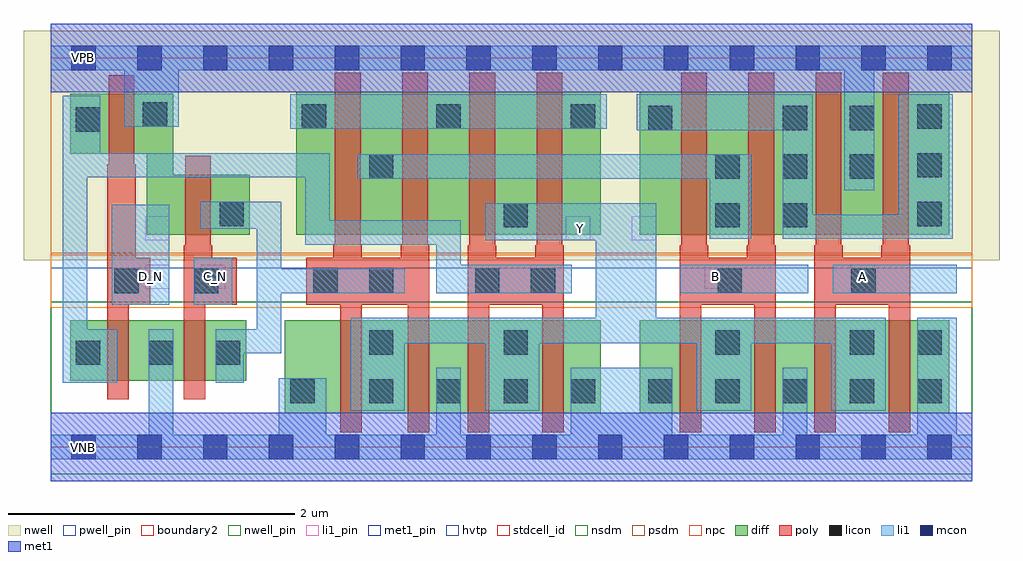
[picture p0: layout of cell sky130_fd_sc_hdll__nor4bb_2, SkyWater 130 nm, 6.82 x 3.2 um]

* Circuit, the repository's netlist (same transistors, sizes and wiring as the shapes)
* Copyright 2020 The SkyWater PDK Authors
*
* Licensed under the Apache License, Version 2.0 (the "License");
* you may not use this file except in compliance with the License.
* You may obtain a copy of the License at
*
*     https://www.apache.org/licenses/LICENSE-2.0
*
* Unless required by applicable law or agreed to in writing, software
* distributed under the License is distributed on an "AS IS" BASIS,
* WITHOUT WARRANTIES OR CONDITIONS OF ANY KIND, either express or implied.
* See the License for the specific language governing permissions and
* limitations under the License.
*
* SPDX-License-Identifier: Apache-2.0

.SUBCKT sky130_fd_sc_hdll__nor4bb_2 A B C_N D_N VGND VNB VPB VPWR Y
*.PININFO A:I B:I C_N:I D_N:I VGND:I VNB:I VPB:I VPWR:I Y:O
MMP0 VPWR A sndPA VPB sky130_fd_pr__pfet_01v8_hvt m=2 w=1.0U l=0.18U mult=1 sa=0.265
+ sb=0.265 sd=0.28 area=0.063 perim=1.14
MMP1 sndPA B sndPB VPB sky130_fd_pr__pfet_01v8_hvt m=2 w=1.0U l=0.18U mult=1 sa=0.265
+ sb=0.265 sd=0.28 area=0.063 perim=1.14
MMP2 sndPB C sndPC VPB sky130_fd_pr__pfet_01v8_hvt m=2 w=1.0U l=0.18U mult=1 sa=0.265
+ sb=0.265 sd=0.28 area=0.063 perim=1.14
MMP3 sndPC D Y VPB sky130_fd_pr__pfet_01v8_hvt m=2 w=1.0U l=0.18U mult=1 sa=0.265
+ sb=0.265 sd=0.28 area=0.063 perim=1.14
MMIP2 C C_N VPWR VPB sky130_fd_pr__pfet_01v8_hvt m=1 w=0.42U l=0.18U mult=1 sa=0.265
+ sb=0.265 sd=0.28 area=0.063 perim=1.14
MMIP3 D D_N VPWR VPB sky130_fd_pr__pfet_01v8_hvt m=1 w=0.42U l=0.18U mult=1 sa=0.265
+ sb=0.265 sd=0.28 area=0.063 perim=1.14
MMN0 Y A VGND VNB sky130_fd_pr__nfet_01v8 m=2 w=0.65U l=0.15U mult=1 sa=0.265 sb=0.265
+ sd=0.28 area=0.063 perim=1.14
MMN1 Y B VGND VNB sky130_fd_pr__nfet_01v8 m=2 w=0.65U l=0.15U mult=1 sa=0.265 sb=0.265
+ sd=0.28 area=0.063 perim=1.14
MMN2 Y C VGND VNB sky130_fd_pr__nfet_01v8 m=2 w=0.65U l=0.15U mult=1 sa=0.265 sb=0.265
+ sd=0.28 area=0.063 perim=1.14
MMN3 Y D VGND VNB sky130_fd_pr__nfet_01v8 m=2 w=0.65U l=0.15U mult=1 sa=0.265 sb=0.265
+ sd=0.28 area=0.063 perim=1.14
MMIN2 C C_N VGND VNB sky130_fd_pr__nfet_01v8 m=1 w=0.42U l=0.15U mult=1 sa=0.265
+ sb=0.265 sd=0.28 area=0.063 perim=1.14
MMIN3 D D_N VGND VNB sky130_fd_pr__nfet_01v8 m=1 w=0.42U l=0.15U mult=1 sa=0.265
+ sb=0.265 sd=0.28 area=0.063 perim=1.14
.ENDS sky130_fd_sc_hdll__nor4bb_2

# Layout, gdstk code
import gdstk
lib = gdstk.Library(unit=1e-6, precision=1e-09)
def R(c, l, rs):  # rectangles x0, y0, x1, y1
    for r in rs: c.add(gdstk.rectangle(r[:2], r[2:], *l))
def A(c, l, x, y, w, h, nx, ny, dx, dy):  # array of equal rectangles
    R(c, l, [(x+i*dx, y+j*dy, x+i*dx+w, y+j*dy+h) for i in range(nx) for j in range(ny)])
def P(c, l, *ps):  # polygons
    for p in ps: c.add(gdstk.Polygon(p, *l))
nwell_pin = (64, 16)
nwell = (64, 20)
diff = (65, 20)
poly = (66, 20)
licon = (66, 44)
li1_pin = (67, 16)
li1 = (67, 20)
mcon = (67, 44)
met1_pin = (68, 16)
met1 = (68, 20)
hvtp = (78, 44)
stdcell_id = (81, 4)
nsdm = (93, 44)
psdm = (94, 20)
npc = (95, 20)
pwell_pin = (122, 16)
boundary2 = (236, 0)

sky130_fd_sc_hdll__nor4b = lib.new_cell('sky130_fd_sc_hdll__nor4bb_2')
R(sky130_fd_sc_hdll__nor4b, nwell_pin, [(0.145,2.635,0.315,2.805)])
R(sky130_fd_sc_hdll__nor4b, nwell, [(-0.19,1.305,6.63,2.91)])
R(sky130_fd_sc_hdll__nor4b, diff, [(1.635,0.235,3.845,0.885), (4.115,0.235,6.28,0.885), (0.135,0.465,1.365,0.885), (1.715,1.485,3.845,2.485), (4.115,1.485,6.28,2.485)])
P(sky130_fd_sc_hdll__nor4b, diff, [(1.39,1.905),(0.855,1.905),(0.855,2.47),(0.135,2.47),(0.135,2.05),(0.67,2.05),(0.67,1.485),(1.39,1.485)])
P(sky130_fd_sc_hdll__nor4b, poly, [(0.695,1.325),(0.595,1.325),(0.595,1.975),(0.585,1.975),(0.585,2.6),(0.405,2.6),(0.405,1.975),(0.395,1.975),(0.395,0.335),(0.545,0.335),(0.545,0.995),(0.695,0.995)],
  [(1.3,1.325),(1.13,1.325),(1.13,1.41),(1.12,1.41),(1.12,2.035),(0.94,2.035),(0.94,1.41),(0.93,1.41),(0.93,0.335),(1.08,0.335),(1.08,0.995),(1.3,0.995)],
  [(2.645,1.41),(2.635,1.41),(2.635,2.615),(2.455,2.615),(2.455,1.41),(2.445,1.41),(2.445,1.325),(2.175,1.325),(2.175,1.41),(2.165,1.41),(2.165,2.615),(1.985,2.615),(1.985,1.41),(1.975,1.41),(1.975,1.325),(1.785,1.325),(1.785,0.995),(2.025,0.995),(2.025,0.105),(2.175,0.105),(2.175,0.995),(2.495,0.995),(2.495,0.105),(2.645,0.105)],
  [(3.585,1.41),(3.575,1.41),(3.575,2.615),(3.395,2.615),(3.395,1.41),(3.385,1.41),(3.385,1.325),(3.115,1.325),(3.115,1.41),(3.105,1.41),(3.105,2.615),(2.925,2.615),(2.925,1.41),(2.915,1.41),(2.915,0.105),(3.065,0.105),(3.065,0.995),(3.435,0.995),(3.435,0.105),(3.585,0.105)],
  [(5.065,1.41),(5.055,1.41),(5.055,2.615),(4.875,2.615),(4.875,1.41),(4.865,1.41),(4.865,1.325),(4.595,1.325),(4.595,1.41),(4.585,1.41),(4.585,2.615),(4.405,2.615),(4.405,1.41),(4.395,1.41),(4.395,0.105),(4.545,0.105),(4.545,0.995),(4.915,0.995),(4.915,0.105),(5.065,0.105)],
  [(6.005,1.41),(5.995,1.41),(5.995,2.615),(5.815,2.615),(5.815,1.41),(5.805,1.41),(5.805,1.325),(5.535,1.325),(5.535,1.41),(5.525,1.41),(5.525,2.615),(5.345,2.615),(5.345,1.41),(5.335,1.41),(5.335,0.105),(5.485,0.105),(5.485,0.995),(5.855,0.995),(5.855,0.105),(6.005,0.105)])
A(sky130_fd_sc_hdll__nor4b, licon, 2.225, 0.305, 0.17, 0.17, 4, 1, 0.47, 0)
A(sky130_fd_sc_hdll__nor4b, licon, 4.175, 0.305, 0.17, 0.17, 5, 1, 0.47, 0)
A(sky130_fd_sc_hdll__nor4b, licon, 6.055, 1.545, 0.17, 0.17, 1, 3, 0, 0.34)
A(sky130_fd_sc_hdll__nor4b, licon, 4.645, 1.875, 0.17, 0.17, 3, 1, 0.47, 0)
A(sky130_fd_sc_hdll__nor4b, licon, 1.755, 2.225, 0.17, 0.17, 3, 1, 0.94, 0)
R(sky130_fd_sc_hdll__nor4b, licon, [(1.675,0.305,1.845,0.475), (0.175,0.575,0.345,0.745), (0.685,0.575,0.855,0.745), (1.155,0.575,1.325,0.745), (2.225,0.645,2.395,0.815), (3.165,0.645,3.335,0.815), (4.645,0.645,4.815,0.815), (5.585,0.645,5.755,0.815), (6.055,0.645,6.225,0.815), (0.445,1.075,0.615,1.245), (1,1.075,1.17,1.245), (1.835,1.075,2.005,1.245), (2.225,1.075,2.395,1.245), (2.965,1.075,3.135,1.245), (3.355,1.075,3.525,1.245), (4.66,1.075,4.83,1.245), (5.595,1.075,5.765,1.245), (3.165,1.535,3.335,1.705), (4.645,1.535,4.815,1.705), (5.115,1.535,5.285,1.705), (1.18,1.545,1.35,1.715), (2.225,1.875,2.395,2.045), (0.175,2.205,0.345,2.375), (4.175,2.215,4.345,2.385), (5.115,2.215,5.285,2.385), (5.585,2.215,5.755,2.385), (0.645,2.24,0.815,2.41)])
R(sky130_fd_sc_hdll__nor4b, li1_pin, [(0.66,1.105,0.83,1.275), (1.05,1.105,1.22,1.275), (4.57,1.105,4.74,1.275), (5.59,1.105,5.76,1.275), (0.66,1.445,0.83,1.615), (3.6,1.445,3.77,1.615), (4.06,1.445,4.23,1.615)])
R(sky130_fd_sc_hdll__nor4b, li1, [(0.425,0.995,0.83,1.695), (1,0.995,1.27,1.325), (4.4,1.075,5.295,1.275), (5.465,1.075,6.33,1.275), (1.675,2.225,3.885,2.465)])
P(sky130_fd_sc_hdll__nor4b, li1, [(6.44,0.085),(6.33,0.085),(6.33,0.905),(6.055,0.905),(6.055,0.085),(5.285,0.085),(5.285,0.555),(5.115,0.555),(5.115,0.085),(4.345,0.085),(4.345,0.555),(3.635,0.555),(3.635,0.085),(2.865,0.085),(2.865,0.555),(2.695,0.555),(2.695,0.085),(1.925,0.085),(1.925,0.48),(1.595,0.48),(1.595,0.085),(0.855,0.085),(0.855,0.825),(0.685,0.825),(0.685,0.085),(0,0.085),(0,-0.085),(6.44,-0.085)],
  [(6.44,2.805),(0,2.805),(0,2.635),(0.515,2.635),(0.515,2.24),(0.895,2.24),(0.895,2.635),(5.545,2.635),(5.545,1.795),(5.755,1.795),(5.755,2.635),(6.44,2.635)],
  [(2.475,1.245),(1.61,1.245),(1.61,1.715),(1.045,1.715),(1.045,1.525),(1.44,1.525),(1.44,0.825),(1.155,0.825),(1.155,0.45),(1.35,0.45),(1.35,0.655),(1.61,0.655),(1.61,1.075),(2.475,1.075)],
  [(3.64,1.275),(2.865,1.275),(2.865,1.585),(1.95,1.585),(1.95,2.055),(0.345,2.055),(0.345,2.455),(0.085,2.455),(0.085,0.45),(0.465,0.45),(0.465,0.825),(0.255,0.825),(0.255,1.885),(1.78,1.885),(1.78,1.415),(2.695,1.415),(2.695,1.075),(3.64,1.075)],
  [(4.895,2.045),(2.145,2.045),(2.145,1.875),(4.605,1.875),(4.605,1.455),(4.895,1.455)],
  [(5.835,0.905),(4.23,0.905),(4.23,1.705),(3.035,1.705),(3.035,1.445),(3.81,1.445),(3.81,0.905),(2.095,0.905),(2.095,0.255),(2.475,0.255),(2.475,0.725),(3.035,0.725),(3.035,0.255),(3.415,0.255),(3.415,0.725),(4.515,0.725),(4.515,0.255),(4.895,0.255),(4.895,0.725),(5.455,0.725),(5.455,0.255),(5.835,0.255)],
  [(6.305,2.465),(5.925,2.465),(5.925,1.625),(5.325,1.625),(5.325,2.465),(4.095,2.465),(4.095,2.215),(5.115,2.215),(5.115,1.455),(6.305,1.455)])
A(sky130_fd_sc_hdll__nor4b, mcon, 0.145, -0.085, 0.17, 0.17, 14, 2, 0.46, 2.72)
R(sky130_fd_sc_hdll__nor4b, met1_pin, [(0.145,-0.085,0.315,0.085), (0.145,2.635,0.315,2.805)])
R(sky130_fd_sc_hdll__nor4b, met1, [(0,-0.24,6.44,0.24), (0,2.48,6.44,2.96)])
R(sky130_fd_sc_hdll__nor4b, hvtp, [(0,1.25,6.44,2.72)])
R(sky130_fd_sc_hdll__nor4b, stdcell_id, [(0,0,6.44,2.72)])
R(sky130_fd_sc_hdll__nor4b, nsdm, [(0,-0.19,6.44,1.015)])
R(sky130_fd_sc_hdll__nor4b, psdm, [(0,1.355,6.44,2.91)])
R(sky130_fd_sc_hdll__nor4b, npc, [(0,0.975,6.44,1.345)])
R(sky130_fd_sc_hdll__nor4b, pwell_pin, [(0.145,-0.085,0.315,0.085)])
R(sky130_fd_sc_hdll__nor4b, boundary2, [(0,0,6.44,2.72)])
sky130_fd_sc_hdll__nor4b.add(gdstk.Label('D_N', (0.695,1.19), layer=67, texttype=5))
sky130_fd_sc_hdll__nor4b.add(gdstk.Label('C_N', (1.155,1.19), layer=67, texttype=5))
sky130_fd_sc_hdll__nor4b.add(gdstk.Label('A', (5.67,1.19), layer=67, texttype=5))
sky130_fd_sc_hdll__nor4b.add(gdstk.Label('Y', (3.7,1.53), layer=67, texttype=5))
sky130_fd_sc_hdll__nor4b.add(gdstk.Label('B', (4.645,1.19), layer=67, texttype=5))
sky130_fd_sc_hdll__nor4b.add(gdstk.Label('VNB', (0.23,0), layer=64, texttype=59))
sky130_fd_sc_hdll__nor4b.add(gdstk.Label('VPB', (0.23,2.72), layer=64, texttype=5))
sky130_fd_sc_hdll__nor4b.add(gdstk.Label('VGND', (0.23,0), layer=68, texttype=5))
sky130_fd_sc_hdll__nor4b.add(gdstk.Label('VPWR', (0.23,2.72), layer=68, texttype=5))
sky130_fd_sc_hdll__nor4b.add(gdstk.Label('nor4bb_2', (0,-0.05), layer=83, texttype=44))

lib.write_gds('sky130_fd_sc_hdll__nor4bb_2.gds')
